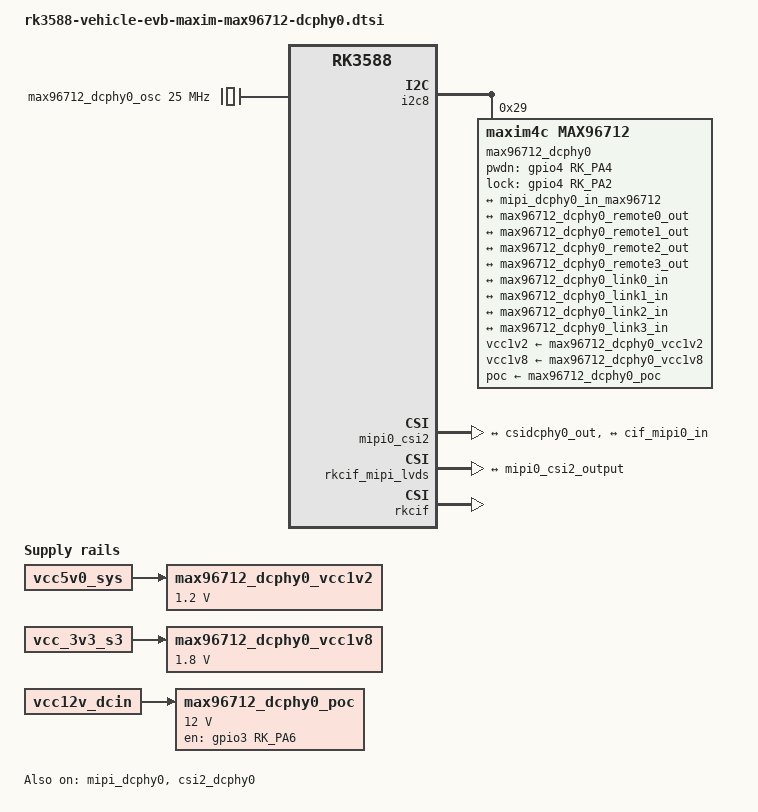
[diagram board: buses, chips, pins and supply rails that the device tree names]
// SPDX-License-Identifier: (GPL-2.0+ OR MIT)
/*
 * Copyright (c) 2023 Rockchip Electronics Co., Ltd.
 *
 */
#include <dt-bindings/display/media-bus-format.h>

/ {
	max96712_dcphy0_osc: max96712-dcphy0-oscillator {
		compatible = "fixed-clock";
		#clock-cells = <1>;
		clock-frequency = <25000000>;
		clock-output-names = "max96712-dcphy0-osc";
	};

	max96712_dcphy0_vcc1v2: max96712-dcphy0-vcc1v2 {
		compatible = "regulator-fixed";
		regulator-name = "max96712_dcphy0_vcc1v2";
		regulator-boot-on;
		regulator-always-on;
		regulator-min-microvolt = <1200000>;
		regulator-max-microvolt = <1200000>;
		startup-delay-us = <850>;
		vin-supply = <&vcc5v0_sys>;
	};

	max96712_dcphy0_vcc1v8: max96712-dcphy0-vcc1v8 {
		compatible = "regulator-fixed";
		regulator-name = "max96712_dcphy0_vcc1v8";
		regulator-boot-on;
		regulator-always-on;
		regulator-min-microvolt = <1800000>;
		regulator-max-microvolt = <1800000>;
		startup-delay-us = <200>;
		vin-supply = <&vcc_3v3_s3>;
	};

	max96712_dcphy0_poc: max96712-dcphy0-poc {
		compatible = "regulator-fixed";
		regulator-name = "max96712_dcphy0_poc";
		regulator-boot-on;
		regulator-always-on;
		regulator-min-microvolt = <12000000>;
		regulator-max-microvolt = <12000000>;
		enable-active-high;
		gpio = <&gpio3 RK_PA6 GPIO_ACTIVE_HIGH>;
		startup-delay-us = <1050>;
		off-on-delay-us = <515000>;
		vin-supply = <&vcc12v_dcin>;
	};
};

&mipi_dcphy0 {
	status = "okay";
};

&csi2_dcphy0 {
	status = "okay";

	ports {
		#address-cells = <1>;
		#size-cells = <0>;
		port@0 {
			reg = <0>;
			#address-cells = <1>;
			#size-cells = <0>;

			mipi_dcphy0_in_max96712: endpoint@1 {
				reg = <1>;
				remote-endpoint = <&max96712_dcphy0_out>;
				data-lanes = <1 2>;
			};
		};
		port@1 {
			reg = <1>;
			#address-cells = <1>;
			#size-cells = <0>;

			csidcphy0_out: endpoint@0 {
				reg = <0>;
				remote-endpoint = <&mipi0_csi2_input>;
			};
		};
	};
};

&i2c8 {
	status = "okay";
	pinctrl-names = "default";
	pinctrl-0 = <&i2c8m2_xfer>;

	max96712_dcphy0: max96712@29 {
		compatible = "maxim4c,max96712";
		status = "okay";
		reg = <0x29>;
		clock-names = "xvclk";
		clocks = <&max96712_dcphy0_osc 0>;
		pinctrl-names = "default";
		pinctrl-0 = <&max96712_dcphy0_pwdn>, <&max96712_dcphy0_errb>, <&max96712_dcphy0_lock>;
		power-domains = <&power RK3588_PD_VI>;
		rockchip,grf = <&sys_grf>;
		pwdn-gpios = <&gpio4 RK_PA4 GPIO_ACTIVE_HIGH>;
		lock-gpios = <&gpio4 RK_PA2 GPIO_ACTIVE_HIGH>;
		vcc1v2-supply = <&max96712_dcphy0_vcc1v2>;
		vcc1v8-supply = <&max96712_dcphy0_vcc1v8>;
		poc-supply = <&max96712_dcphy0_poc>;

		rockchip,camera-module-index = <0>;
		rockchip,camera-module-facing = "back";
		rockchip,camera-module-name = "max96712";
		rockchip,camera-module-lens-name = "max96712";

		port {
			max96712_dcphy0_out: endpoint {
				remote-endpoint = <&mipi_dcphy0_in_max96712>;
				data-lanes = <1 2>;
			};
		};

		/* support mode config start */
		support-mode-config {
			status = "okay";

			bus-format = <MEDIA_BUS_FMT_UYVY8_2X8>;
			sensor-width = <1280>;
			sensor-height = <800>;
			max-fps-numerator = <10000>;
			max-fps-denominator = <300000>;
			bpp = <16>;
			link-freq-idx = <24>;
			vc-array = <0x10 0x20 0x40 0x80>; // VC0~3: bit4~7
		};
		/* support mode config end */

		/* serdes local device start */
		serdes-local-device {
			status = "okay";

			/* GMSL LINK config start */
			gmsl-links {
				status = "okay";

				link-vdd-ldo1-en = <1>;
				link-vdd-ldo2-en = <1>;

				// Link A: link-id = 0
				gmsl-link-config-0 {
					status = "okay";
					link-id = <0>; // Link ID: 0/1/2/3

					link-type = <0>;
					link-rx-rate = <0>;
					link-tx-rate = <0>;

					port {
						max96712_dcphy0_link0_in: endpoint {
							remote-endpoint = <&max96712_dcphy0_remote0_out>;
						};
					};

					link-init-sequence {
						seq-item-size = <5>; // reg-addr-len + reg-val-len * 2 + 1
						reg-addr-len = <2>; // 1: 8bits, 2: 16bits
						reg-val-len = <1>; // 1: 8bits, 2: 16bits, 3: 24bits

						// reg_addr reg_val val_mask delay
						init-sequence = [
							14 D1 03 00 00 // VGAHiGain
							14 45 00 00 00 // Disable SSC
							0B 06 ef 00 00 // HIM on
							0B 07 84 00 00 // Enable HVEN and DBL
							0B 0F 01 00 00 // Disable processing DE signals
						];
					};
				};

				// Link B: link-id = 1
				gmsl-link-config-1 {
					status = "okay";
					link-id = <1>; // Link ID: 0/1/2/3

					link-type = <0>;
					link-rx-rate = <0>;
					link-tx-rate = <0>;

					port {
						max96712_dcphy0_link1_in: endpoint {
							remote-endpoint = <&max96712_dcphy0_remote1_out>;
						};
					};

					link-init-sequence {
						seq-item-size = <5>; // reg-addr-len + reg-val-len * 2 + 1
						reg-addr-len = <2>; // 1: 8bits, 2: 16bits
						reg-val-len = <1>; // 1: 8bits, 2: 16bits, 3: 24bits

						// reg_addr reg_val val_mask delay
						init-sequence = [
							15 D1 03 00 00 // VGAHiGain
							15 45 00 00 00 // Disable SSC
							0C 06 ef 00 00 // HIM on
							0C 07 84 00 00 // Enable HVEN and DBL
							0C 0F 01 00 00 // Disable processing DE signals
						];
					};
				};

				// Link C: link-id = 2
				gmsl-link-config-2 {
					status = "okay";
					link-id = <2>; // Link ID: 0/1/2/3

					link-type = <0>;
					link-rx-rate = <0>;
					link-tx-rate = <0>;

					port {
						max96712_dcphy0_link2_in: endpoint {
							remote-endpoint = <&max96712_dcphy0_remote2_out>;
						};
					};

					link-init-sequence {
						seq-item-size = <5>; // reg-addr-len + reg-val-len * 2 + 1
						reg-addr-len = <2>; // 1: 8bits, 2: 16bits
						reg-val-len = <1>; // 1: 8bits, 2: 16bits, 3: 24bits

						// reg_addr reg_val val_mask delay
						init-sequence = [
							16 D1 03 00 00 // VGAHiGain
							16 45 00 00 00 // Disable SSC
							0D 06 ef 00 00 // HIM on
							0D 07 84 00 00 // Enable HVEN and DBL
							0D 0F 01 00 00 // Disable processing DE signals
						];
					};
				};

				// Link D: link-id = 3
				gmsl-link-config-3 {
					status = "okay";
					link-id = <3>; // Link ID: 0/1/2/3

					link-type = <0>;
					link-rx-rate = <0>;
					link-tx-rate = <0>;

					port {
						max96712_dcphy0_link3_in: endpoint {
							remote-endpoint = <&max96712_dcphy0_remote3_out>;
						};
					};

					link-init-sequence {
						seq-item-size = <5>; // reg-addr-len + reg-val-len * 2 + 1
						reg-addr-len = <2>; // 1: 8bits, 2: 16bits
						reg-val-len = <1>; // 1: 8bits, 2: 16bits, 3: 24bits

						// reg_addr reg_val val_mask delay
						init-sequence = [
							17 D1 03 00 00 // VGAHiGain
							17 45 00 00 00 // Disable SSC
							0E 06 ef 00 00 // HIM on
							0E 07 84 00 00 // Enable HVEN and DBL
							0E 0F 01 00 00 // Disable processing DE signals
						];
					};
				};
			};
			/* GMSL LINK config end */

			/* VIDEO PIPE config start */
			video-pipes {
				status = "okay";

				// Video Pipe 0
				video-pipe-config-0 {
					status = "okay";
					pipe-id = <0>; // Video Pipe ID: 0/1/2/3/4/5/6/7

					pipe-idx = <0>; // Video Pipe X/Y/Z/U: 0/1/2/3
					link-idx = <0>; // Link A/B/C/D: 0/1/2/3

					pipe-init-sequence {
						seq-item-size = <5>; // reg-addr-len + reg-val-len * 2 + 1
						reg-addr-len = <2>; // 1: 8bits, 2: 16bits
						reg-val-len = <1>; // 1: 8bits, 2: 16bits, 3: 24bits

						// reg_addr reg_val val_mask delay
						init-sequence = [
							// Send YUV422, FS, and FE from Video Pipe 0 to Controller 0
							09 0B 07 00 00 // Enable 0/1/2 SRC/DST Mappings
							09 2D 00 00 00 // SRC/DST 0/1/2 -> CSI2 Controller 0;
							// For the following MSB 2 bits = VC, LSB 6 bits = DT
							09 0D 1e 00 00 // SRC0 VC = 0, DT = YUV422 8bit
							09 0E 1e 00 00 // DST0 VC = 0, DT = YUV422 8bit
							09 0F 00 00 00 // SRC1 VC = 0, DT = Frame Start
							09 10 00 00 00 // DST1 VC = 0, DT = Frame Start
							09 11 01 00 00 // SRC2 VC = 0, DT = Frame End
							09 12 01 00 00 // DST2 VC = 0, DT = Frame End
						];
					};
				};

				// Video Pipe 1
				video-pipe-config-1 {
					status = "okay";
					pipe-id = <1>; // Video Pipe 1: pipe-id = 1

					pipe-idx = <0>; // Video Pipe X/Y/Z/U: 0/1/2/3
					link-idx = <1>; // Link A/B/C/D: 0/1/2/3

					pipe-init-sequence {
						seq-item-size = <5>; // reg-addr-len + reg-val-len * 2 + 1
						reg-addr-len = <2>; // 1: 8bits, 2: 16bits
						reg-val-len = <1>; // 1: 8bits, 2: 16bits, 3: 24bits

						// reg_addr reg_val val_mask delay
						init-sequence = [
							// Send YUV422, FS, and FE from Video Pipe 1 to Controller 0
							09 4B 07 00 00 // Enable 0/1/2 SRC/DST Mappings
							09 6D 00 00 00 // SRC/DST 0/1/2 -> CSI2 Controller 0;
							// For the following MSB 2 bits = VC, LSB 6 bits = DT
							09 4D 1e 00 00 // SRC0 VC = 0, DT = YUV422 8bit
							09 4E 5e 00 00 // DST0 VC = 1, DT = YUV422 8bit
							09 4F 00 00 00 // SRC1 VC = 0, DT = Frame Start
							09 50 40 00 00 // DST1 VC = 1, DT = Frame Start
							09 51 01 00 00 // SRC2 VC = 0, DT = Frame End
							09 52 41 00 00 // DST2 VC = 1, DT = Frame End
						];
					};
				};

				// Video Pipe 2
				video-pipe-config-2 {
					status = "okay";
					pipe-id = <2>; // Video Pipe ID: 0/1/2/3/4/5/6/7

					pipe-idx = <0>; // Video Pipe X/Y/Z/U: 0/1/2/3
					link-idx = <2>; // Link A/B/C/D: 0/1/2/3

					pipe-init-sequence {
						seq-item-size = <5>; // reg-addr-len + reg-val-len * 2 + 1
						reg-addr-len = <2>; // 1: 8bits, 2: 16bits
						reg-val-len = <1>; // 1: 8bits, 2: 16bits, 3: 24bits

						// reg_addr reg_val val_mask delay
						init-sequence = [
							// Send YUV422, FS, and FE from Video Pipe 2 to Controller 0
							09 8B 07 00 00 // Enable 0/1/2 SRC/DST Mappings
							09 AD 00 00 00 // SRC/DST 0/1/2 -> CSI2 Controller 0;
							// For the following MSB 2 bits = VC, LSB 6 bits = DT
							09 8D 1e 00 00 // SRC0 VC = 0, DT = YUV422 8bit
							09 8E 9e 00 00 // DST0 VC = 2, DT = YUV422 8bit
							09 8F 00 00 00 // SRC1 VC = 0, DT = Frame Start
							09 90 80 00 00 // DST1 VC = 2, DT = Frame Start
							09 91 01 00 00 // SRC2 VC = 0, DT = Frame End
							09 92 81 00 00 // DST2 VC = 2, DT = Frame End
						];
					};
				};

				// Video Pipe 3
				video-pipe-config-3 {
					status = "okay";
					pipe-id = <3>; // Video Pipe ID: 0/1/2/3/4/5/6/7

					pipe-idx = <0>; // Video Pipe X/Y/Z/U: 0/1/2/3
					link-idx = <3>; // Link A/B/C/D: 0/1/2/3

					pipe-init-sequence {
						seq-item-size = <5>; // reg-addr-len + reg-val-len * 2 + 1
						reg-addr-len = <2>; // 1: 8bits, 2: 16bits
						reg-val-len = <1>; // 1: 8bits, 2: 16bits, 3: 24bits

						// reg_addr reg_val val_mask delay
						init-sequence = [
							// Send YUV422, FS, and FE from Video Pipe 3 to Controller 0
							09 CB 07 00 00 // Enable 0/1/2 SRC/DST Mappings
							09 ED 00 00 00 // SRC/DST 0/1/2 -> CSI2 Controller 0;
							// For the following MSB 2 bits = VC, LSB 6 bits = DT
							09 CD 1e 00 00 // SRC0 VC = 0, DT = YUV422 8bit
							09 CE de 00 00 // DST0 VC = 3, DT = YUV422 8bit
							09 CF 00 00 00 // SRC1 VC = 0, DT = Frame Start
							09 D0 c0 00 00 // DST1 VC = 3, DT = Frame Start
							09 D1 01 00 00 // SRC2 VC = 0, DT = Frame End
							09 D2 c1 00 00 // DST2 VC = 3, DT = Frame End
						];
					};
				};

				// Software override for parallel mode
				parallel-mode-config {
					status = "okay";

					parallel-init-sequence {
						seq-item-size = <5>; // reg-addr-len + reg-val-len * 2 + 1
						reg-addr-len = <2>; // 1: 8bits, 2: 16bits
						reg-val-len = <1>; // 1: 8bits, 2: 16bits, 3: 24bits

						// reg_addr reg_val val_mask delay
						init-sequence = [
							// Enable software override for all pipes since GMSL1 data is parallel mode, bpp=8, dt=0x1e(yuv-8)
							04 1A f0 00 00 // pipe 0/1/2/3: Enable YUV8-/10-bit mux mode
							04 0B 40 00 00 // pipe 0 bpp=0x08: Datatypes = 0x2A, 0x10-12, 0x31-37
							04 0C 00 00 00 // pipe 0 and 1 VC software override: 0x00
							04 0D 00 00 00 // pipe 2 and 3 VC software override: 0x00
							04 0E 5e 00 00 // pipe 0 DT=0x1E: YUV422 8-bit
							04 0F 7e 00 00 // pipe 1 DT=0x1E: YUV422 8-bit
							04 10 7a 00 00 // pipe 2 DT=0x1E, pipe 3 DT=0x1E: YUV422 8-bit
							04 11 48 00 00 // pipe 1 bpp=0x08: Datatypes = 0x2A, 0x10-12, 0x31-37
							04 12 20 00 00 // pipe 2 bpp=0x08, pipe 3 bpp=0x08: Datatypes = 0x2A, 0x10-12, 0x31-37
							04 15 c0 c0 00 // pipe 0/1 enable software overide
							04 18 c0 c0 00 // pipe 2/3 enable software overide
						];
					};
				};
			};
			/* VIDEO PIPE config end */

			/* MIPI TXPHY config start */
			mipi-txphys {
				status = "okay";

				phy-mode = <1>;
				phy-force-clock-out = <1>;
				phy-force-clk0-en = <0>;
				phy-force-clk3-en = <0>;

				// MIPI TXPHY A: phy-id = 0
				mipi-txphy-config-0 {
					status = "okay";
					phy-id = <0>; // MIPI TXPHY ID: 0/1/2/3

					phy-type = <0>;
					auto-deskew = <0x00>;
					data-lane-num = <2>;
					data-lane-map = <0x4>;
					vc-ext-en = <0>;
				};
			};
			/* MIPI TXPHY config end */

			/* local device extra init sequence */
			extra-init-sequence {
				status = "disabled";

				seq-item-size = <5>; // reg-addr-len + reg-val-len * 2 + 1
				reg-addr-len = <2>; // 1: 8bits, 2: 16bits
				reg-val-len = <1>; // 1: 8bits, 2: 16bits, 3: 24bits

				// reg_addr reg_val val_mask delay
				init-sequence = [
					// common init sequence such as fsync / gpio and so on
				];
			};
		};
		/* serdes local device end */

		/* serdes remote device start */
		serdes-remote-device-0 {
			compatible = "maxim4c,link0,max96715";
			status = "okay";

			remote-id = <0>; // Same as Link ID: 0/1/2/3

			// Serializer i2c 7bit address remap
			ser-i2c-addr-def = <0x40>;
			ser-i2c-addr-map = <0x41>; // 0: disable remap

			port {
				max96712_dcphy0_remote0_out: endpoint {
					remote-endpoint = <&max96712_dcphy0_link0_in>;
				};
			};

			remote-init-sequence {
				seq-item-size = <4>; // reg-addr-len + reg-val-len * 2 + 1
				reg-addr-len = <1>; // 1: 8bits, 2: 16bits
				reg-val-len = <1>; // 1: 8bits, 2: 16bits, 3: 24bits

				// reg_addr reg_val val_mask delay
				init-sequence = [
					07 84 00 00
					67 c4 00 00
					0F bf 00 00
					3F 08 00 00
					40 2d 00 00
					20 10 00 00
					21 11 00 00
					22 12 00 00
					23 13 00 00
					24 14 00 00
					25 15 00 00
					26 16 00 00
					27 17 00 00
					30 00 00 00
					31 01 00 00
					32 02 00 00
					33 03 00 00
					34 04 00 00
					35 05 00 00
					36 06 00 00
					37 07 00 00
				];
			};
		};

		serdes-remote-device-1 {
			compatible = "maxim4c,link1,max96715";
			status = "okay";

			remote-id = <1>; // Same as Link ID: 0/1/2/3

			// Serializer i2c 7bit address remap
			ser-i2c-addr-def = <0x40>;
			ser-i2c-addr-map = <0x42>; // 0: disable remap

			port {
				max96712_dcphy0_remote1_out: endpoint {
					remote-endpoint = <&max96712_dcphy0_link1_in>;
				};
			};

			remote-init-sequence {
				seq-item-size = <4>; // reg-addr-len + reg-val-len * 2 + 1
				reg-addr-len = <1>; // 1: 8bits, 2: 16bits
				reg-val-len = <1>; // 1: 8bits, 2: 16bits, 3: 24bits

				// reg_addr reg_val val_mask delay
				init-sequence = [
					07 84 00 00
					67 c4 00 00
					0F bf 00 00
					3F 08 00 00
					40 2d 00 00
					20 10 00 00
					21 11 00 00
					22 12 00 00
					23 13 00 00
					24 14 00 00
					25 15 00 00
					26 16 00 00
					27 17 00 00
					30 00 00 00
					31 01 00 00
					32 02 00 00
					33 03 00 00
					34 04 00 00
					35 05 00 00
					36 06 00 00
					37 07 00 00
				];
			};
		};

		serdes-remote-device-2 {
			compatible = "maxim4c,link2,max96715";
			status = "okay";

			remote-id = <2>; // Same as Link ID: 0/1/2/3

			// Serializer i2c 7bit address remap
			ser-i2c-addr-def = <0x40>;
			ser-i2c-addr-map = <0x43>; // 0: disable remap

			port {
				max96712_dcphy0_remote2_out: endpoint {
					remote-endpoint = <&max96712_dcphy0_link2_in>;
				};
			};

			remote-init-sequence {
				seq-item-size = <4>; // reg-addr-len + reg-val-len * 2 + 1
				reg-addr-len = <1>; // 1: 8bits, 2: 16bits
				reg-val-len = <1>; // 1: 8bits, 2: 16bits, 3: 24bits

				// reg_addr reg_val val_mask delay
				init-sequence = [
					07 84 00 00
					67 c4 00 00
					0F bf 00 00
					3F 08 00 00
					40 2d 00 00
					20 10 00 00
					21 11 00 00
					22 12 00 00
					23 13 00 00
					24 14 00 00
					25 15 00 00
					26 16 00 00
					27 17 00 00
					30 00 00 00
					31 01 00 00
					32 02 00 00
					33 03 00 00
					34 04 00 00
					35 05 00 00
					36 06 00 00
					37 07 00 00
				];
			};
		};

		serdes-remote-device-3 {
			compatible = "maxim4c,link3,max96715";
			status = "okay";

			remote-id = <3>; // Same as Link ID: 0/1/2/3

			// Serializer i2c 7bit address remap
			ser-i2c-addr-def = <0x40>;
			ser-i2c-addr-map = <0x44>; // 0: disable remap

			port {
				max96712_dcphy0_remote3_out: endpoint {
					remote-endpoint = <&max96712_dcphy0_link3_in>;
				};
			};

			remote-init-sequence {
				seq-item-size = <4>; // reg-addr-len + reg-val-len * 2 + 1
				reg-addr-len = <1>; // 1: 8bits, 2: 16bits
				reg-val-len = <1>; // 1: 8bits, 2: 16bits, 3: 24bits

				// reg_addr reg_val val_mask delay
				init-sequence = [
					07 84 00 00
					67 c4 00 00
					0F bf 00 00
					3F 08 00 00
					40 2d 00 00
					20 10 00 00
					21 11 00 00
					22 12 00 00
					23 13 00 00
					24 14 00 00
					25 15 00 00
					26 16 00 00
					27 17 00 00
					30 00 00 00
					31 01 00 00
					32 02 00 00
					33 03 00 00
					34 04 00 00
					35 05 00 00
					36 06 00 00
					37 07 00 00
				];
			};
		};
		/* serdes remote device end */
	};
};

&mipi0_csi2 {
	status = "okay";

	ports {
		#address-cells = <1>;
		#size-cells = <0>;

		port@0 {
			reg = <0>;
			#address-cells = <1>;
			#size-cells = <0>;

			mipi0_csi2_input: endpoint@1 {
				reg = <1>;
				remote-endpoint = <&csidcphy0_out>;
			};
		};

		port@1 {
			reg = <1>;
			#address-cells = <1>;
			#size-cells = <0>;

			mipi0_csi2_output: endpoint@0 {
				reg = <0>;
				remote-endpoint = <&cif_mipi0_in>;
			};
		};
	};
};

&rkcif_mipi_lvds {
	status = "okay";
	/* parameters for do cif reset detecting:
	 * index0: monitor mode,
		   0 for idle,
		   1 for continue,
		   2 for trigger,
		   3 for hotplug (for nextchip)
	 * index1: the frame id to start timer,
		   min is 2
	 * index2: frame num of monitoring cycle
	 * index3: err time for keep monitoring
		   after finding out err (ms)
	 * index4: csi2 err reference val for resetting
	 */
	rockchip,cif-monitor = <3 2 1 1000 5>;

	port {
		cif_mipi0_in: endpoint {
			remote-endpoint = <&mipi0_csi2_output>;
		};
	};
};

&rkcif {
	status = "okay";
	rockchip,android-usb-camerahal-enable;
};

&rkcif_mmu {
	status = "okay";
};

&pinctrl {
	max96712-dcphy0 {
		max96712_dcphy0_pwdn: max96712-dcphy0-pwdn {
			rockchip,pins = <4 RK_PA4 RK_FUNC_GPIO &pcfg_pull_up>;
		};

		max96712_dcphy0_errb: max96712-dcphy0-errb {
			rockchip,pins = <4 RK_PA5 RK_FUNC_GPIO &pcfg_pull_up>;
		};

		max96712_dcphy0_lock: max96712-dcphy0-lock {
			rockchip,pins = <4 RK_PA2 RK_FUNC_GPIO &pcfg_pull_up>;
		};
	};
};
